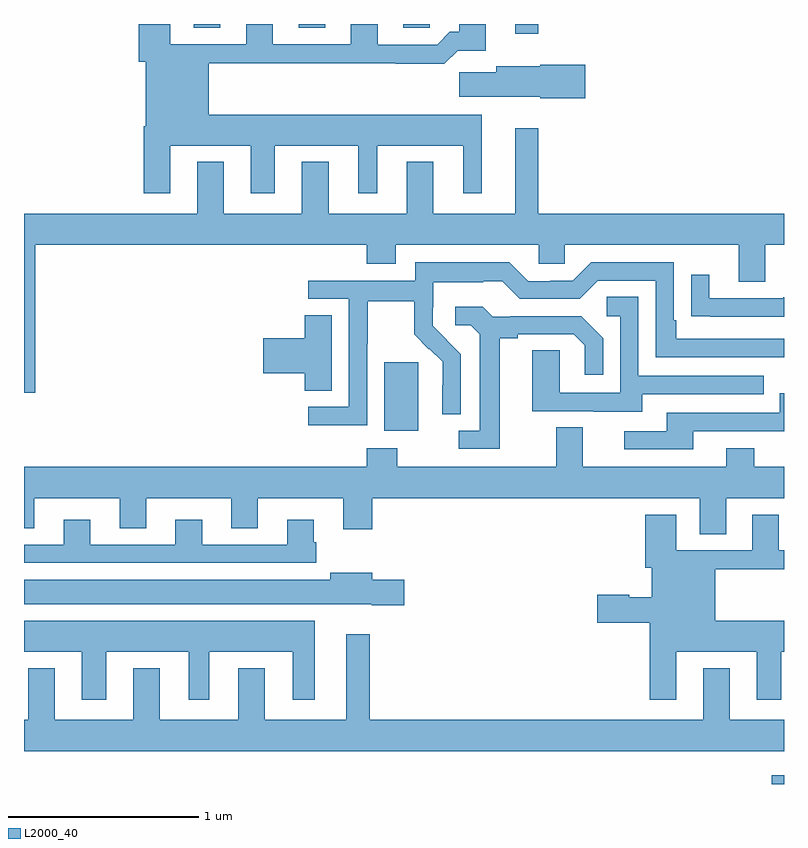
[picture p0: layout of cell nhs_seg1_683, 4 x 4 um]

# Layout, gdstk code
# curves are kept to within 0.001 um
import gdstk
lib = gdstk.Library(unit=1e-6, precision=1e-09)
def R(c, l, rs):  # rectangles x0, y0, x1, y1
    for r in rs: c.add(gdstk.rectangle(r[:2], r[2:], *l))
def P(c, l, *ps):  # polygons
    for p in ps: c.add(gdstk.Polygon(p, *l))
L2000_40 = (2000, 40)

nhs_seg1_683 = lib.new_cell('nhs_seg1_683')
R(nhs_seg1_683, L2000_40, [(150.935,578.199,151,578.245), (148.895,580.058,149.074,580.419), (149.585,582.147,149.707,582.199), (147.893,582.178,148.033,582.199), (148.445,582.178,148.585,582.199), (148.997,582.178,149.136,582.199)])
P(nhs_seg1_683, L2000_40, [(147.769,581.558),(148.193,581.558),(148.193,581.307),(148.321,581.307),(148.321,581.558),(148.76,581.558),(148.76,581.307),(148.858,581.307),(148.858,581.558),(149.312,581.558),(149.312,581.307),(149.41,581.307),(149.41,581.722),(147.973,581.722),(147.973,581.992),(148.957,581.992),(148.957,581.99),(149.213,581.99),(149.282,582.059),(149.431,582.059),(149.431,582.199),(149.291,582.199),(149.291,582.157),(149.242,582.157),(149.175,582.09),(148.861,582.09),(148.861,582.199),(148.721,582.199),(148.721,582.093),(148.309,582.093),(148.309,582.199),(148.169,582.199),(148.169,582.093),(147.769,582.093),(147.769,582.199),(147.605,582.199),(147.605,582),(147.641,582),(147.641,581.662),(147.629,581.662),(147.629,581.307),(147.769,581.307)],
  [(149.953,581.985),(149.718,581.985),(149.718,581.977),(149.486,581.977),(149.486,581.945),(149.292,581.945),(149.292,581.816),(149.718,581.816),(149.718,581.807),(149.953,581.807)],
  [(147.059,581.036),(148.805,581.036),(148.805,580.937),(148.957,580.937),(148.957,581.036),(149.709,581.036),(149.709,580.938),(149.847,580.938),(149.847,581.036),(150.761,581.036),(150.761,580.842),(150.901,580.842),(150.901,581.036),(151,581.036),(151,581.2),(149.707,581.2),(149.707,581.65),(149.585,581.65),(149.585,581.2),(149.155,581.2),(149.155,581.473),(149.015,581.473),(149.015,581.2),(148.603,581.2),(148.603,581.473),(148.463,581.473),(148.463,581.2),(148.051,581.2),(148.051,581.473),(147.911,581.473),(147.911,581.2),(147,581.2),(147,580.257),(147.059,580.257)],
  [(148.806,580.516),(148.809,580.516),(148.809,580.74),(149.053,580.74),(149.053,580.565),(149.13,580.488),(149.133,580.491),(149.204,580.421),(149.204,580.298),(149.202,580.298),(149.202,580.144),(149.298,580.144),(149.298,580.462),(149.152,580.61),(149.152,580.707),(149.154,580.707),(149.154,580.841),(149.417,580.841),(149.417,580.845),(149.517,580.845),(149.61,580.752),(149.925,580.752),(150.021,580.848),(150.324,580.848),(150.324,580.446),(151,580.446),(151,580.542),(150.433,580.542),(150.433,580.639),(150.42,580.639),(150.42,580.944),(149.985,580.944),(149.889,580.848),(149.771,580.848),(149.771,580.845),(149.655,580.845),(149.555,580.945),(149.058,580.945),(149.058,580.848),(148.497,580.848),(148.497,580.752),(148.71,580.752),(148.71,580.185),(148.497,580.185),(148.497,580.087),(148.806,580.087)],
  [(151,580.76),(150.997,580.76),(150.997,580.755),(150.607,580.755),(150.607,580.879),(150.511,580.879),(150.511,580.66),(150.613,580.66),(150.613,580.659),(151,580.659)],
  [(150.253,580.251),(150.893,580.251),(150.893,580.347),(150.234,580.347),(150.234,580.763),(150.066,580.763),(150.066,580.662),(150.138,580.662),(150.138,580.257),(149.82,580.257),(149.82,580.481),(149.675,580.481),(149.675,580.161),(149.999,580.161),(149.999,580.157),(150.253,580.157)],
  [(149.503,580.544),(149.599,580.544),(149.599,580.566),(149.894,580.566),(149.951,580.509),(149.951,580.353),(150.048,580.353),(150.048,580.546),(149.932,580.662),(149.56,580.662),(149.56,580.659),(149.466,580.659),(149.414,580.711),(149.271,580.711),(149.271,580.614),(149.352,580.614),(149.399,580.567),(149.399,580.059),(149.289,580.059),(149.289,579.963),(149.503,579.963)],
  [(148.621,580.667),(148.478,580.667),(148.478,580.544),(148.26,580.544),(148.26,580.361),(148.478,580.361),(148.478,580.27),(148.621,580.27)],
  [(150.523,580.056),(151,580.056),(151,580.255),(150.978,580.255),(150.978,580.152),(150.383,580.152),(150.383,580.056),(150.159,580.056),(150.159,579.96),(150.523,579.96)],
  [(150.697,579.704),(151,579.704),(151,579.868),(150.843,579.868),(150.843,579.967),(150.695,579.967),(150.695,579.868),(149.941,579.868),(149.941,580.076),(149.801,580.076),(149.801,579.868),(148.965,579.868),(148.965,579.967),(148.805,579.967),(148.805,579.868),(147,579.868),(147,579.544),(147.055,579.544),(147.055,579.704),(147.503,579.704),(147.503,579.544),(147.643,579.544),(147.643,579.704),(148.091,579.704),(148.091,579.544),(148.231,579.544),(148.231,579.704),(148.679,579.704),(148.679,579.54),(148.832,579.54),(148.832,579.704),(150.557,579.704),(150.557,579.514),(150.697,579.514)],
  [(150.433,578.894),(150.857,578.894),(150.857,578.643),(150.985,578.643),(150.985,578.894),(151,578.894),(151,579.058),(150.637,579.058),(150.637,579.328),(151,579.328),(151,579.429),(150.973,579.429),(150.973,579.616),(150.833,579.616),(150.833,579.429),(150.433,579.429),(150.433,579.616),(150.269,579.616),(150.269,579.336),(150.305,579.336),(150.305,579.181),(150.185,579.181),(150.185,579.194),(150.018,579.194),(150.018,579.047),(150.293,579.047),(150.293,578.643),(150.433,578.643)],
  [(148.538,579.471),(148.525,579.471),(148.525,579.589),(148.385,579.589),(148.385,579.459),(147.937,579.459),(147.937,579.589),(147.797,579.589),(147.797,579.459),(147.349,579.459),(147.349,579.589),(147.209,579.589),(147.209,579.459),(147,579.459),(147,579.363),(148.538,579.363)],
  [(149.002,579.274),(148.834,579.274),(148.834,579.31),(148.613,579.31),(148.613,579.274),(147,579.274),(147,579.146),(148.83,579.146),(148.83,579.14),(149.002,579.14)],
  [(147.433,578.894),(147.866,578.894),(147.866,578.643),(147.976,578.643),(147.976,578.894),(148.415,578.894),(148.415,578.643),(148.531,578.643),(148.531,579.058),(147,579.058),(147,578.894),(147.305,578.894),(147.305,578.643),(147.433,578.643)],
  [(151,578.536),(150.715,578.536),(150.715,578.809),(150.575,578.809),(150.575,578.536),(148.819,578.536),(148.819,578.986),(148.697,578.986),(148.697,578.536),(148.267,578.536),(148.267,578.809),(148.127,578.809),(148.127,578.536),(147.715,578.536),(147.715,578.809),(147.575,578.809),(147.575,578.536),(147.163,578.536),(147.163,578.809),(147.023,578.809),(147.023,578.536),(147,578.536),(147,578.372),(151,578.372)])

lib.write_gds('nhs_seg1_683.gds')
